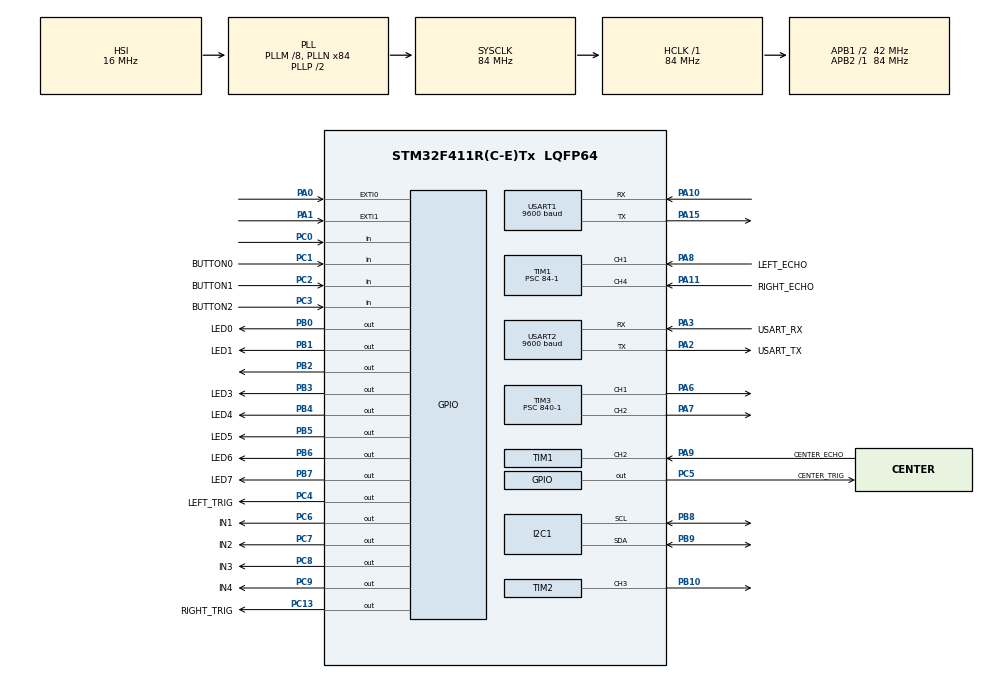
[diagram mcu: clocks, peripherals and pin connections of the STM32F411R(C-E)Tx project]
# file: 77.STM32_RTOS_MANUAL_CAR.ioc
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FREERTOS.Mutexes01=myMutex01,Dynamic,NULL
FREERTOS.Tasks01=defaultTask,24,128,StartDefaultTask,Default,NULL,Dynamic,NULL,NULL;AutoModeTask,8,128,StartAutoModeTask,Default,NULL,Dynamic,NULL,NULL;ManualModeTask,8,128,StartManualModeTask,Default,NULL,Dynamic,NULL,NULL;MonitorTask,8,128,StartMonitorTask,Default,NULL,Dynamic,NULL,NULL
FREERTOS.configUSE_NEWLIB_REENTRANT=1
Mcu.Family=STM32F4
Mcu.Name=STM32F411R(C-E)Tx
Mcu.Package=LQFP64
NVIC.EXTI0_IRQn=true\:5\:0\:false\:false\:true\:true\:true\:true\:true
NVIC.EXTI1_IRQn=true\:5\:0\:false\:false\:true\:true\:true\:true\:true
NVIC.PriorityGroup=NVIC_PRIORITYGROUP_4
NVIC.TIM1_BRK_TIM9_IRQn=true\:5\:0\:false\:false\:true\:true\:true\:true\:true
NVIC.TIM1_CC_IRQn=true\:5\:0\:false\:false\:true\:true\:true\:true\:true
NVIC.TIM1_TRG_COM_TIM11_IRQn=true\:5\:0\:false\:true\:true\:1\:true\:true\:true\:true
NVIC.TIM1_UP_TIM10_IRQn=true\:15\:0\:false\:false\:true\:false\:true\:true\:true
NVIC.TIM2_IRQn=true\:5\:0\:false\:false\:true\:true\:true\:true\:true
NVIC.TIM3_IRQn=true\:5\:0\:false\:false\:true\:true\:true\:true\:true
NVIC.TimeBase=TIM1_UP_TIM10_IRQn
NVIC.TimeBaseIP=TIM10
NVIC.USART1_IRQn=true\:5\:0\:false\:false\:true\:true\:true\:true\:true
NVIC.USART2_IRQn=true\:5\:0\:false\:false\:true\:true\:true\:true\:true
PA0-WKUP.Signal=GPXTI0
PA1.Signal=GPXTI1
PA10.Mode=Asynchronous
PA10.Signal=USART1_RX
PA11.GPIO_Label=RIGHT_ECHO
PA11.Signal=S_TIM1_CH4
PA13.GPIO_Label=TMS
PA13.Mode=Serial_Wire
PA13.Signal=SYS_JTMS-SWDIO
PA14.GPIO_Label=TCK
PA14.Mode=Serial_Wire
PA14.Signal=SYS_JTCK-SWCLK
PA15.Mode=Asynchronous
PA15.Signal=USART1_TX
PA2.GPIO_Label=USART_TX
PA2.Mode=Asynchronous
PA2.Signal=USART2_TX
PA3.GPIO_Label=USART_RX
PA3.Mode=Asynchronous
PA3.Signal=USART2_RX
PA6.Signal=S_TIM3_CH1
PA7.Signal=S_TIM3_CH2
PA8.GPIO_Label=LEFT_ECHO
PA8.Signal=S_TIM1_CH1
PA9.GPIO_Label=CENTER_ECHO
PA9.Signal=S_TIM1_CH2
PB0.GPIO_Label=LED0
PB0.Signal=GPIO_Output
PB1.GPIO_Label=LED1
PB1.Signal=GPIO_Output
PB10.Signal=S_TIM2_CH3
PB2.Signal=GPIO_Output
PB3.GPIO_Label=LED3
PB3.Signal=GPIO_Output
PB4.GPIO_Label=LED4
PB4.Signal=GPIO_Output
PB5.GPIO_Label=LED5
PB5.Signal=GPIO_Output
PB6.GPIO_Label=LED6
PB6.Signal=GPIO_Output
PB7.GPIO_Label=LED7
PB7.Signal=GPIO_Output
PB8.Mode=I2C
PB8.Signal=I2C1_SCL
PB9.Mode=I2C
PB9.Signal=I2C1_SDA
PC0.Signal=GPIO_Input
PC1.GPIO_Label=BUTTON0
PC1.Signal=GPIO_Input
PC13-ANTI_TAMP.GPIO_Label=RIGHT_TRIG
PC13-ANTI_TAMP.Signal=GPIO_Output
PC14-OSC32_IN.Mode=LSE-External-Oscillator
PC14-OSC32_IN.Signal=RCC_OSC32_IN
PC15-OSC32_OUT.Mode=LSE-External-Oscillator
PC15-OSC32_OUT.Signal=RCC_OSC32_OUT
PC2.GPIO_Label=BUTTON1
PC2.Signal=GPIO_Input
PC3.GPIO_Label=BUTTON2
PC3.Signal=GPIO_Input
PC4.GPIO_Label=LEFT_TRIG
PC4.Signal=GPIO_Output
PC5.GPIO_Label=CENTER_TRIG
PC5.Signal=GPIO_Output
PC6.GPIO_Label=IN1
PC6.Signal=GPIO_Output
PC7.GPIO_Label=IN2
PC7.Signal=GPIO_Output
PC8.GPIO_Label=IN3
PC8.Signal=GPIO_Output
PC9.GPIO_Label=IN4
PC9.Signal=GPIO_Output
PH0\ -\ OSC_IN.Mode=HSE-External-Clock-Source
PH0\ -\ OSC_IN.Signal=RCC_OSC_IN
PH1\ -\ OSC_OUT.Mode=HSE-External-Clock-Source
PH1\ -\ OSC_OUT.Signal=RCC_OSC_OUT
ProjectManager.HeapSize=0x200
ProjectManager.StackSize=0x400
ProjectManager.TargetToolchain=STM32CubeIDE
RCC.48MHZClocksFreq_Value=42000000
RCC.AHBFreq_Value=84000000
RCC.APB1CLKDivider=RCC_HCLK_DIV2
RCC.APB1Freq_Value=42000000
RCC.APB1TimFreq_Value=84000000
RCC.APB2Freq_Value=84000000
RCC.APB2TimFreq_Value=84000000
RCC.CortexFreq_Value=84000000
RCC.FLatency-AdvancedSettings=FLASH_LATENCY_2
RCC.HCLKFreq_Value=84000000
RCC.HSE_VALUE=8000000
RCC.HSI_VALUE=16000000
RCC.PLLM=8
RCC.PLLN=84
RCC.SYSCLKFreq_VALUE=84000000
RCC.SYSCLKSource=RCC_SYSCLKSOURCE_PLLCLK
RCC.VCOOutputFreq_Value=168000000
RTC.Date=30
RTC.Hours=9
RTC.Minutes=31
RTC.Month=RTC_MONTH_AUGUST
RTC.WeekDay=RTC_WEEKDAY_TUESDAY
RTC.Year=22
SH.S_TIM1_CH1.0=TIM1_CH1,Input_Capture1_from_TI1
SH.S_TIM1_CH2.0=TIM1_CH2,Input_Capture2_from_TI2
SH.S_TIM1_CH4.0=TIM1_CH4,Input_Capture4_from_TI4
SH.S_TIM2_CH3.0=TIM2_CH3,PWM Generation3 CH3
SH.S_TIM3_CH1.0=TIM3_CH1,PWM Generation1 CH1
SH.S_TIM3_CH2.0=TIM3_CH2,PWM Generation2 CH2
TIM1.Channel-Input_Capture1_from_TI1=TIM_CHANNEL_1
TIM1.Channel-Input_Capture2_from_TI2=TIM_CHANNEL_2
TIM1.Channel-Input_Capture4_from_TI4=TIM_CHANNEL_4
TIM1.ICPolarity_CH1=TIM_INPUTCHANNELPOLARITY_BOTHEDGE
TIM1.Prescaler=84-1
TIM11.Period=10000-1
TIM11.Prescaler=84-1
TIM2.Channel-PWM\ Generation3\ CH3=TIM_CHANNEL_3
TIM2.Period=1000-1
TIM2.Prescaler=1680-1
TIM3.AutoReloadPreload=TIM_AUTORELOAD_PRELOAD_ENABLE
TIM3.Channel-PWM\ Generation1\ CH1=TIM_CHANNEL_1
TIM3.Channel-PWM\ Generation2\ CH2=TIM_CHANNEL_2
TIM3.OCFastMode_PWM-PWM\ Generation1\ CH1=TIM_OCFAST_ENABLE
TIM3.OCFastMode_PWM-PWM\ Generation2\ CH2=TIM_OCFAST_ENABLE
TIM3.Period=100-1
TIM3.Prescaler=840-1
TIM3.Pulse-PWM\ Generation1\ CH1=70-1
TIM3.Pulse-PWM\ Generation2\ CH2=70-1
USART1.BaudRate=9600
USART1.VirtualMode=VM_ASYNC
USART2.BaudRate=9600
USART2.VirtualMode=VM_ASYNC
VP_FREERTOS_VS_CMSIS_V2.Mode=CMSIS_V2
VP_RTC_VS_RTC_Activate.Mode=RTC_Enabled
VP_RTC_VS_RTC_Calendar.Mode=RTC_Calendar
VP_SYS_VS_tim10.Mode=TIM10
VP_TIM11_VS_ClockSourceINT.Mode=Enable_Timer
VP_TIM1_VS_ClockSourceINT.Mode=Internal
VP_TIM2_VS_ClockSourceINT.Mode=Internal
board=NUCLEO-F411RE

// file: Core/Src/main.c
/* USER CODE BEGIN Header */
/**
  ******************************************************************************
  * @file           : main.c
  * @brief          : Main program body
  ******************************************************************************
  * @attention
  *
  * Copyright (c) 2022 STMicroelectronics.
  * All rights reserved.
  *
  * This software is licensed under terms that can be found in the LICENSE file
  * in the root directory of this software component.
  * If no LICENSE file comes with this software, it is provided AS-IS.
  *
  ******************************************************************************
  */
/* USER CODE END Header */
#include "main.h"
#include "cmsis_os.h"

/* USER CODE BEGIN Includes */
#include "i2c_lcd.h"  // < >
/* USER CODE END Includes */

I2C_HandleTypeDef hi2c1;

RTC_HandleTypeDef hrtc;

TIM_HandleTypeDef htim1;
TIM_HandleTypeDef htim2;
TIM_HandleTypeDef htim3;
TIM_HandleTypeDef htim11;

UART_HandleTypeDef huart1;
UART_HandleTypeDef huart2;

/* Definitions for defaultTask */
osThreadId_t defaultTaskHandle;
const osThreadAttr_t defaultTask_attributes = {
  .name = "defaultTask",
  .stack_size = 128 * 4,
  .priority = (osPriority_t) osPriorityNormal,
};
/* Definitions for AutoModeTask */
osThreadId_t AutoModeTaskHandle;
const osThreadAttr_t AutoModeTask_attributes = {
  .name = "AutoModeTask",
  .stack_size = 128 * 4,
  .priority = (osPriority_t) osPriorityLow,
};
/* Definitions for ManualModeTask */
osThreadId_t ManualModeTaskHandle;
const osThreadAttr_t ManualModeTask_attributes = {
  .name = "ManualModeTask",
  .stack_size = 128 * 4,
  .priority = (osPriority_t) osPriorityLow,
};
/* Definitions for MonitorTask */
osThreadId_t MonitorTaskHandle;
const osThreadAttr_t MonitorTask_attributes = {
  .name = "MonitorTask",
  .stack_size = 128 * 4,
  .priority = (osPriority_t) osPriorityLow,
};
/* Definitions for myMutex01 */
osMutexId_t myMutex01Handle;
const osMutexAttr_t myMutex01_attributes = {
  .name = "myMutex01"
};

void SystemClock_Config(void);
static void MX_GPIO_Init(void);
static void MX_USART2_UART_Init(void);
static void MX_TIM11_Init(void);
static void MX_TIM1_Init(void);
static void MX_RTC_Init(void);
static void MX_I2C1_Init(void);
static void MX_TIM2_Init(void);
static void MX_TIM3_Init(void);
static void MX_USART1_UART_Init(void);
void StartDefaultTask(void *argument);
void StartAutoModeTask(void *argument);
void StartManualModeTask(void *argument);
void StartMonitorTask(void *argument);

static void MX_NVIC_Init(void);
/* USER CODE BEGIN PFP */
extern void led_all_on();
extern void led_all_off();
extern void led_on_up();
extern void led_on_down();
extern void led2_toggle();
extern void button1_ledall_on_off();
extern void pc_command_processing();
extern void get_rtc_time(void);
extern void stepmotor_forward_backward();
extern void stepmotor_forward_backward_stop();
extern void servo_motor_control_main();
extern void buzzer_main();
extern void dcmotor_pwm_control(void);
extern void drive_car_main();
extern void mode_check();
extern void drive_car_main();
extern void auto_drive(void);

extern volatile uint8_t rx_data;
extern volatile uint8_t bt_data;   // 2. BT�? �??�� 1byte?�� INT�? ?��?��?���? ???�� ?��?�� �??��
/* USER CODE END PFP */

/* USER CODE BEGIN 0 */
//----------  printf start ----------
#ifdef __GNUC__
/* With GCC, small printf (option LD Linker->Libraries->Small printf
   set to 'Yes') calls __io_putchar() */
#define PUTCHAR_PROTOTYPE int __io_putchar(int ch)
#else
#define PUTCHAR_PROTOTYPE int fputc(int ch, FILE *f)
#endif /* __GNUC_ */
/**
  * @brief  Retargets the C library printf function to the USART.
  * @param  None
  * @retval None
  */
PUTCHAR_PROTOTYPE   // Add for printf
{
  /* Place your implementation of fputc here */
  /* e.g. write a character to the USART3 and Loop until the end of transmission */
  HAL_UART_Transmit(&huart2, (uint8_t *)&ch, 1, 0xFFFF);

  return ch;
}
//----------  printf end ----------
volatile int t1ms_counter=0;   // 200ms
volatile int t500ms_counter=0;
// call by SysTick_Handler of stm32f4xx_it.c
// enther here every 1ms
// ARM default timer
void HAL_SYSTICK_Callback(void)
{
	t1ms_counter++;
	t500ms_counter++;
}
// copy from Driver/STM32F4xx_HAL_Driver/stm32f4xx_hal_tim.c to here
// every TIMER INT callBack function  : ex) TIM11: enter here every 10ms
volatile int TIM11_10ms_counter=0;
volatile int TIM11_10ms_ultrasonic_counter=0;
volatile int TIM11_10ms_servomotor_counter=0;

// copy from Driver/STM32F4xx_HAL_Driver/stm32f4xx_hal_gpio.c to here
// every EXTERNAL INTERRUPT callBack function
int ext_int_no = -1;
void HAL_GPIO_EXTI_Callback(uint16_t GPIO_Pin)
{
	switch (GPIO_Pin)
	{
		case GPIO_PIN_0:    // PA.0
//printf("EXT INT 0\n");
			led_all_off();
			HAL_GPIO_WritePin(GPIOB, 0x01 << 0, GPIO_PIN_SET);
			ext_int_no = GPIO_PIN_0;
			break;
		case GPIO_PIN_1:    // PA.1			led_all_off();
			HAL_GPIO_WritePin(GPIOB, 0x01 << 1, GPIO_PIN_SET);
//printf("EXT INT 1\n");
			ext_int_no = GPIO_PIN_1;
			break;
	}
}
// count us timer pulse
// 0.000001sec ==> 1us
// 0.001sec ==> 1ms ==> 1000us
// 0.1sec ==> 100ms ==> 100,000us
void delay_us(unsigned long us)
{
	// TCNT = 0; ex) AVR
	__HAL_TIM_SET_COUNTER(&htim1,0);  // clear timer counter
	while (__HAL_TIM_GET_COUNTER(&htim1) < us)   // wait counter value until reach
		;
}
/* USER CODE END 0 */

int main(void)
{

  /* MCU Configuration--------------------------------------------------------*/

  /* Reset of all peripherals, Initializes the Flash interface and the Systick. */
  HAL_Init();

  /* Configure the system clock */
  SystemClock_Config();

  /* Initialize all configured peripherals */
  MX_GPIO_Init();
  MX_USART2_UART_Init();
  MX_TIM11_Init();
  MX_TIM1_Init();
  MX_RTC_Init();
  MX_I2C1_Init();
  MX_TIM2_Init();
  MX_TIM3_Init();
  MX_USART1_UART_Init();

  /* Initialize interrupts */
  MX_NVIC_Init();
  /* USER CODE BEGIN 2 */
  HAL_TIM_Base_Start_IT(&htim11);   // add_SIKWON_0826 for TIM11 every 10ms
  HAL_TIM_IC_Start_IT(&htim1, TIM_CHANNEL_1);  // add_SIKWON_0826 for us_delay, ultrasonic
  HAL_UART_Receive_IT(&huart2, &rx_data, 1);  // PC UART enable
  HAL_UART_Receive_IT(&huart1, &bt_data, 1);  // BT enable
  // 주의: PC?? BT�??? ?��?��?�� ?��?��?��?��?�� rx_data�??? 별도?�� �????���??? �????�� ?��?�� �???�??? ?��?��
  HAL_TIM_PWM_Start_IT(&htim2, TIM_CHANNEL_3);   // PWM control for servo motor
  HAL_TIM_PWM_Start(&htim3, TIM_CHANNEL_1);   // TIM3 CH1 : DC motor PWM ch PA6
  HAL_TIM_PWM_Start(&htim3, TIM_CHANNEL_2);   // TIM3 CH2 : DC motor PWM ch PA7

  i2c_lcd_init();
  printf("Hello---STM32!!!\n");

//  stepmotor_main_test();
//  buzzer_main();
  /* USER CODE END 2 */

  /* Init scheduler */
  osKernelInitialize();
  /* Create the mutex(es) */
  /* creation of myMutex01 */
  myMutex01Handle = osMutexNew(&myMutex01_attributes);

  /* Create the thread(s) */
  /* creation of defaultTask */
  defaultTaskHandle = osThreadNew(StartDefaultTask, NULL, &defaultTask_attributes);

  /* creation of AutoModeTask */
  AutoModeTaskHandle = osThreadNew(StartAutoModeTask, NULL, &AutoModeTask_attributes);

  /* creation of ManualModeTask */
  ManualModeTaskHandle = osThreadNew(StartManualModeTask, NULL, &ManualModeTask_attributes);

  /* creation of MonitorTask */
  MonitorTaskHandle = osThreadNew(StartMonitorTask, NULL, &MonitorTask_attributes);

  /* USER CODE BEGIN RTOS_EVENTS */
  /* add events, ... */
	move_cursor(0,0);
	lcd_string("Manual Mode");
  /* USER CODE END RTOS_EVENTS */

  /* Start scheduler */
  osKernelStart();

  /* We should never get here as control is now taken by the scheduler */
  /* Infinite loop */
  while (1)
  {

    /* USER CODE BEGIN 3 */
//  drive_car_main();
//	  dcmotor_pwm_control();
//	  pc_command_processing();
//	  get_rtc_time();
//	  stepmotor_forward_backward_stop();
//	  servo_motor_control_main();
	  // stepmotor_forward_backward();
  }
  /* USER CODE END 3 */
}

void SystemClock_Config(void)
{
  RCC_OscInitTypeDef RCC_OscInitStruct = {0};
  RCC_ClkInitTypeDef RCC_ClkInitStruct = {0};

  /** Configure the main internal regulator output voltage
  */
  __HAL_RCC_PWR_CLK_ENABLE();
  __HAL_PWR_VOLTAGESCALING_CONFIG(PWR_REGULATOR_VOLTAGE_SCALE1);

  /** Initializes the RCC Oscillators according to the specified parameters
  * in the RCC_OscInitTypeDef structure.
  */
  RCC_OscInitStruct.OscillatorType = RCC_OSCILLATORTYPE_HSI|RCC_OSCILLATORTYPE_LSI;
  RCC_OscInitStruct.HSIState = RCC_HSI_ON;
  RCC_OscInitStruct.HSICalibrationValue = RCC_HSICALIBRATION_DEFAULT;
  RCC_OscInitStruct.LSIState = RCC_LSI_ON;
  RCC_OscInitStruct.PLL.PLLState = RCC_PLL_ON;
  RCC_OscInitStruct.PLL.PLLSource = RCC_PLLSOURCE_HSI;
  RCC_OscInitStruct.PLL.PLLM = 8;
  RCC_OscInitStruct.PLL.PLLN = 84;
  RCC_OscInitStruct.PLL.PLLP = RCC_PLLP_DIV2;
  RCC_OscInitStruct.PLL.PLLQ = 4;
  if (HAL_RCC_OscConfig(&RCC_OscInitStruct) != HAL_OK)
  {
    Error_Handler();
  }

  /** Initializes the CPU, AHB and APB buses clocks
  */
  RCC_ClkInitStruct.ClockType = RCC_CLOCKTYPE_HCLK|RCC_CLOCKTYPE_SYSCLK
                              |RCC_CLOCKTYPE_PCLK1|RCC_CLOCKTYPE_PCLK2;
  RCC_ClkInitStruct.SYSCLKSource = RCC_SYSCLKSOURCE_PLLCLK;
  RCC_ClkInitStruct.AHBCLKDivider = RCC_SYSCLK_DIV1;
  RCC_ClkInitStruct.APB1CLKDivider = RCC_HCLK_DIV2;
  RCC_ClkInitStruct.APB2CLKDivider = RCC_HCLK_DIV1;

  if (HAL_RCC_ClockConfig(&RCC_ClkInitStruct, FLASH_LATENCY_2) != HAL_OK)
  {
    Error_Handler();
  }
}

/**
  * @brief NVIC Configuration.
  * @retval None
  */
static void MX_NVIC_Init(void)
{
  /* TIM1_TRG_COM_TIM11_IRQn interrupt configuration */
  HAL_NVIC_SetPriority(TIM1_TRG_COM_TIM11_IRQn, 5, 0);
  HAL_NVIC_EnableIRQ(TIM1_TRG_COM_TIM11_IRQn);
}

static void MX_I2C1_Init(void)
{

  hi2c1.Instance = I2C1;
  hi2c1.Init.ClockSpeed = 100000;
  hi2c1.Init.DutyCycle = I2C_DUTYCYCLE_2;
  hi2c1.Init.OwnAddress1 = 0;
  hi2c1.Init.AddressingMode = I2C_ADDRESSINGMODE_7BIT;
  hi2c1.Init.DualAddressMode = I2C_DUALADDRESS_DISABLE;
  hi2c1.Init.OwnAddress2 = 0;
  hi2c1.Init.GeneralCallMode = I2C_GENERALCALL_DISABLE;
  hi2c1.Init.NoStretchMode = I2C_NOSTRETCH_DISABLE;
  if (HAL_I2C_Init(&hi2c1) != HAL_OK)
  {
    Error_Handler();
  }

}

static void MX_RTC_Init(void)
{

  RTC_TimeTypeDef sTime = {0};
  RTC_DateTypeDef sDate = {0};

  /** Initialize RTC Only
  */
  hrtc.Instance = RTC;
  hrtc.Init.HourFormat = RTC_HOURFORMAT_24;
  hrtc.Init.AsynchPrediv = 127;
  hrtc.Init.SynchPrediv = 255;
  hrtc.Init.OutPut = RTC_OUTPUT_DISABLE;
  hrtc.Init.OutPutPolarity = RTC_OUTPUT_POLARITY_HIGH;
  hrtc.Init.OutPutType = RTC_OUTPUT_TYPE_OPENDRAIN;
  if (HAL_RTC_Init(&hrtc) != HAL_OK)
  {
    Error_Handler();
  }

  /** Initialize RTC and set the Time and Date
  */
  sTime.Hours = 0x9;
  sTime.Minutes = 0x31;
  sTime.Seconds = 0x0;
  sTime.DayLightSaving = RTC_DAYLIGHTSAVING_NONE;
  sTime.StoreOperation = RTC_STOREOPERATION_RESET;
  if (HAL_RTC_SetTime(&hrtc, &sTime, RTC_FORMAT_BCD) != HAL_OK)
  {
    Error_Handler();
  }
  sDate.WeekDay = RTC_WEEKDAY_TUESDAY;
  sDate.Month = RTC_MONTH_AUGUST;
  sDate.Date = 0x30;
  sDate.Year = 0x22;

  if (HAL_RTC_SetDate(&hrtc, &sDate, RTC_FORMAT_BCD) != HAL_OK)
  {
    Error_Handler();
  }

}

static void MX_TIM1_Init(void)
{

  TIM_ClockConfigTypeDef sClockSourceConfig = {0};
  TIM_MasterConfigTypeDef sMasterConfig = {0};
  TIM_IC_InitTypeDef sConfigIC = {0};

  htim1.Instance = TIM1;
  htim1.Init.Prescaler = 84-1;
  htim1.Init.CounterMode = TIM_COUNTERMODE_UP;
  htim1.Init.Period = 65535;
  htim1.Init.ClockDivision = TIM_CLOCKDIVISION_DIV1;
  htim1.Init.RepetitionCounter = 0;
  htim1.Init.AutoReloadPreload = TIM_AUTORELOAD_PRELOAD_DISABLE;
  if (HAL_TIM_Base_Init(&htim1) != HAL_OK)
  {
    Error_Handler();
  }
  sClockSourceConfig.ClockSource = TIM_CLOCKSOURCE_INTERNAL;
  if (HAL_TIM_ConfigClockSource(&htim1, &sClockSourceConfig) != HAL_OK)
  {
    Error_Handler();
  }
  if (HAL_TIM_IC_Init(&htim1) != HAL_OK)
  {
    Error_Handler();
  }
  sMasterConfig.MasterOutputTrigger = TIM_TRGO_RESET;
  sMasterConfig.MasterSlaveMode = TIM_MASTERSLAVEMODE_DISABLE;
  if (HAL_TIMEx_MasterConfigSynchronization(&htim1, &sMasterConfig) != HAL_OK)
  {
    Error_Handler();
  }
  sConfigIC.ICPolarity = TIM_INPUTCHANNELPOLARITY_BOTHEDGE;
  sConfigIC.ICSelection = TIM_ICSELECTION_DIRECTTI;
  sConfigIC.ICPrescaler = TIM_ICPSC_DIV1;
  sConfigIC.ICFilter = 0;
  if (HAL_TIM_IC_ConfigChannel(&htim1, &sConfigIC, TIM_CHANNEL_1) != HAL_OK)
  {
    Error_Handler();
  }
  sConfigIC.ICPolarity = TIM_INPUTCHANNELPOLARITY_RISING;
  if (HAL_TIM_IC_ConfigChannel(&htim1, &sConfigIC, TIM_CHANNEL_2) != HAL_OK)
  {
    Error_Handler();
  }
  if (HAL_TIM_IC_ConfigChannel(&htim1, &sConfigIC, TIM_CHANNEL_4) != HAL_OK)
  {
    Error_Handler();
  }

}

static void MX_TIM2_Init(void)
{

  TIM_ClockConfigTypeDef sClockSourceConfig = {0};
  TIM_MasterConfigTypeDef sMasterConfig = {0};
  TIM_OC_InitTypeDef sConfigOC = {0};

  htim2.Instance = TIM2;
  htim2.Init.Prescaler = 1680-1;
  htim2.Init.CounterMode = TIM_COUNTERMODE_UP;
  htim2.Init.Period = 1000-1;
  htim2.Init.ClockDivision = TIM_CLOCKDIVISION_DIV1;
  htim2.Init.AutoReloadPreload = TIM_AUTORELOAD_PRELOAD_DISABLE;
  if (HAL_TIM_Base_Init(&htim2) != HAL_OK)
  {
    Error_Handler();
  }
  sClockSourceConfig.ClockSource = TIM_CLOCKSOURCE_INTERNAL;
  if (HAL_TIM_ConfigClockSource(&htim2, &sClockSourceConfig) != HAL_OK)
  {
    Error_Handler();
  }
  if (HAL_TIM_PWM_Init(&htim2) != HAL_OK)
  {
    Error_Handler();
  }
  sMasterConfig.MasterOutputTrigger = TIM_TRGO_RESET;
  sMasterConfig.MasterSlaveMode = TIM_MASTERSLAVEMODE_DISABLE;
  if (HAL_TIMEx_MasterConfigSynchronization(&htim2, &sMasterConfig) != HAL_OK)
  {
    Error_Handler();
  }
  sConfigOC.OCMode = TIM_OCMODE_PWM1;
  sConfigOC.Pulse = 0;
  sConfigOC.OCPolarity = TIM_OCPOLARITY_HIGH;
  sConfigOC.OCFastMode = TIM_OCFAST_DISABLE;
  if (HAL_TIM_PWM_ConfigChannel(&htim2, &sConfigOC, TIM_CHANNEL_3) != HAL_OK)
  {
    Error_Handler();
  }
  HAL_TIM_MspPostInit(&htim2);

}

static void MX_TIM3_Init(void)
{

  TIM_MasterConfigTypeDef sMasterConfig = {0};
  TIM_OC_InitTypeDef sConfigOC = {0};

  htim3.Instance = TIM3;
  htim3.Init.Prescaler = 840-1;
  htim3.Init.CounterMode = TIM_COUNTERMODE_UP;
  htim3.Init.Period = 100-1;
  htim3.Init.ClockDivision = TIM_CLOCKDIVISION_DIV1;
  htim3.Init.AutoReloadPreload = TIM_AUTORELOAD_PRELOAD_ENABLE;
  if (HAL_TIM_PWM_Init(&htim3) != HAL_OK)
  {
    Error_Handler();
  }
  sMasterConfig.MasterOutputTrigger = TIM_TRGO_RESET;
  sMasterConfig.MasterSlaveMode = TIM_MASTERSLAVEMODE_DISABLE;
  if (HAL_TIMEx_MasterConfigSynchronization(&htim3, &sMasterConfig) != HAL_OK)
  {
    Error_Handler();
  }
  sConfigOC.OCMode = TIM_OCMODE_PWM1;
  sConfigOC.Pulse = 70-1;
  sConfigOC.OCPolarity = TIM_OCPOLARITY_HIGH;
  sConfigOC.OCFastMode = TIM_OCFAST_ENABLE;
  if (HAL_TIM_PWM_ConfigChannel(&htim3, &sConfigOC, TIM_CHANNEL_1) != HAL_OK)
  {
    Error_Handler();
  }
  if (HAL_TIM_PWM_ConfigChannel(&htim3, &sConfigOC, TIM_CHANNEL_2) != HAL_OK)
  {
    Error_Handler();
  }
  HAL_TIM_MspPostInit(&htim3);

}

static void MX_TIM11_Init(void)
{

  htim11.Instance = TIM11;
  htim11.Init.Prescaler = 84-1;
  htim11.Init.CounterMode = TIM_COUNTERMODE_UP;
  htim11.Init.Period = 10000-1;
  htim11.Init.ClockDivision = TIM_CLOCKDIVISION_DIV1;
  htim11.Init.AutoReloadPreload = TIM_AUTORELOAD_PRELOAD_DISABLE;
  if (HAL_TIM_Base_Init(&htim11) != HAL_OK)
  {
    Error_Handler();
  }

}

static void MX_USART1_UART_Init(void)
{

  huart1.Instance = USART1;
  huart1.Init.BaudRate = 9600;
  huart1.Init.WordLength = UART_WORDLENGTH_8B;
  huart1.Init.StopBits = UART_STOPBITS_1;
  huart1.Init.Parity = UART_PARITY_NONE;
  huart1.Init.Mode = UART_MODE_TX_RX;
  huart1.Init.HwFlowCtl = UART_HWCONTROL_NONE;
  huart1.Init.OverSampling = UART_OVERSAMPLING_16;
  if (HAL_UART_Init(&huart1) != HAL_OK)
  {
    Error_Handler();
  }

}

static void MX_USART2_UART_Init(void)
{

  huart2.Instance = USART2;
  huart2.Init.BaudRate = 9600;
  huart2.Init.WordLength = UART_WORDLENGTH_8B;
  huart2.Init.StopBits = UART_STOPBITS_1;
  huart2.Init.Parity = UART_PARITY_NONE;
  huart2.Init.Mode = UART_MODE_TX_RX;
  huart2.Init.HwFlowCtl = UART_HWCONTROL_NONE;
  huart2.Init.OverSampling = UART_OVERSAMPLING_16;
  if (HAL_UART_Init(&huart2) != HAL_OK)
  {
    Error_Handler();
  }

}

static void MX_GPIO_Init(void)
{
  GPIO_InitTypeDef GPIO_InitStruct = {0};

  /* GPIO Ports Clock Enable */
  __HAL_RCC_GPIOC_CLK_ENABLE();
  __HAL_RCC_GPIOH_CLK_ENABLE();
  __HAL_RCC_GPIOA_CLK_ENABLE();
  __HAL_RCC_GPIOB_CLK_ENABLE();

  /*Configure GPIO pin Output Level */
  HAL_GPIO_WritePin(GPIOC, RIGHT_TRIG_Pin|LEFT_TRIG_Pin|CENTER_TRIG_Pin|IN1_Pin
                          |IN2_Pin|IN3_Pin|IN4_Pin, GPIO_PIN_RESET);

  /*Configure GPIO pin Output Level */
  HAL_GPIO_WritePin(GPIOB, LED0_Pin|LED1_Pin|GPIO_PIN_2|LED3_Pin
                          |LED4_Pin|LED5_Pin|LED6_Pin|LED7_Pin, GPIO_PIN_RESET);

  /*Configure GPIO pins : RIGHT_TRIG_Pin LEFT_TRIG_Pin CENTER_TRIG_Pin IN1_Pin
                           IN2_Pin IN3_Pin IN4_Pin */
  GPIO_InitStruct.Pin = RIGHT_TRIG_Pin|LEFT_TRIG_Pin|CENTER_TRIG_Pin|IN1_Pin
                          |IN2_Pin|IN3_Pin|IN4_Pin;
  GPIO_InitStruct.Mode = GPIO_MODE_OUTPUT_PP;
  GPIO_InitStruct.Pull = GPIO_NOPULL;
  GPIO_InitStruct.Speed = GPIO_SPEED_FREQ_LOW;
  HAL_GPIO_Init(GPIOC, &GPIO_InitStruct);

  /*Configure GPIO pins : PC0 BUTTON0_Pin BUTTON1_Pin BUTTON2_Pin */
  GPIO_InitStruct.Pin = GPIO_PIN_0|BUTTON0_Pin|BUTTON1_Pin|BUTTON2_Pin;
  GPIO_InitStruct.Mode = GPIO_MODE_INPUT;
  GPIO_InitStruct.Pull = GPIO_NOPULL;
  HAL_GPIO_Init(GPIOC, &GPIO_InitStruct);

  /*Configure GPIO pins : PA0 PA1 */
  GPIO_InitStruct.Pin = GPIO_PIN_0|GPIO_PIN_1;
  GPIO_InitStruct.Mode = GPIO_MODE_IT_RISING;
  GPIO_InitStruct.Pull = GPIO_NOPULL;
  HAL_GPIO_Init(GPIOA, &GPIO_InitStruct);

  /*Configure GPIO pins : LED0_Pin LED1_Pin PB2 LED3_Pin
                           LED4_Pin LED5_Pin LED6_Pin LED7_Pin */
  GPIO_InitStruct.Pin = LED0_Pin|LED1_Pin|GPIO_PIN_2|LED3_Pin
                          |LED4_Pin|LED5_Pin|LED6_Pin|LED7_Pin;
  GPIO_InitStruct.Mode = GPIO_MODE_OUTPUT_PP;
  GPIO_InitStruct.Pull = GPIO_NOPULL;
  GPIO_InitStruct.Speed = GPIO_SPEED_FREQ_LOW;
  HAL_GPIO_Init(GPIOB, &GPIO_InitStruct);

  /* EXTI interrupt init*/
  HAL_NVIC_SetPriority(EXTI0_IRQn, 5, 0);
  HAL_NVIC_EnableIRQ(EXTI0_IRQn);

  HAL_NVIC_SetPriority(EXTI1_IRQn, 5, 0);
  HAL_NVIC_EnableIRQ(EXTI1_IRQn);

}

void StartDefaultTask(void *argument)
{
  for(;;)
  {
    osDelay(1);
  }
}

void StartAutoModeTask(void *argument)
{
  /* USER CODE BEGIN StartAutoModeTask */
  /* Infinite loop */
  for(;;)
  {
	auto_drive();
    osDelay(1);
  }
  /* USER CODE END StartAutoModeTask */
}

void StartManualModeTask(void *argument)
{
  /* USER CODE BEGIN StartManualModeTask */
  /* Infinite loop */
  for(;;)
  {
	manual_mode_run();
    osDelay(1);
  }
  /* USER CODE END StartManualModeTask */
}

void StartMonitorTask(void *argument)
{
  /* USER CODE BEGIN StartMonitorTask */
  /* Infinite loop */
  for(;;)
  {
		mode_check();         // button1 check
		osDelay(1);
  }
  /* USER CODE END StartMonitorTask */
}

void HAL_TIM_PeriodElapsedCallback(TIM_HandleTypeDef *htim)
{
  /* USER CODE BEGIN Callback 0 */
	if (htim->Instance == TIM11)
	{
		TIM11_10ms_counter++;
		TIM11_10ms_ultrasonic_counter++;
		TIM11_10ms_servomotor_counter++;
	}
  /* USER CODE END Callback 0 */
  if (htim->Instance == TIM10) {
    HAL_IncTick();
  }
}

void Error_Handler(void)
{
  __disable_irq();
  while (1)
  {
  }
}
